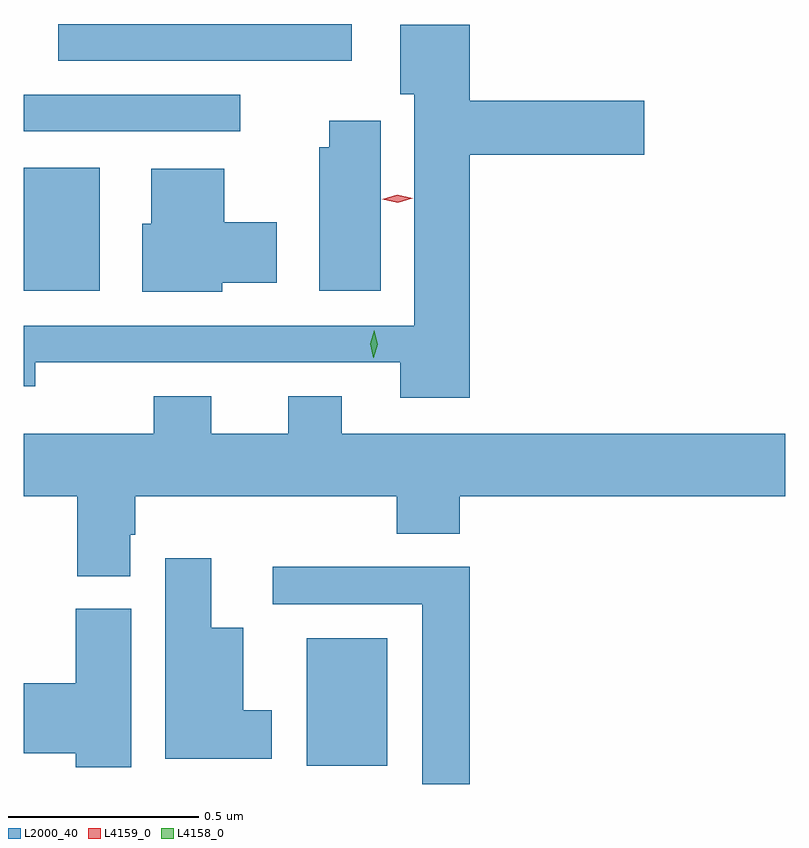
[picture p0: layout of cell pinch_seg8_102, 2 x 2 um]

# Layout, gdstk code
import gdstk
lib = gdstk.Library(unit=1e-6, precision=1e-09)
def R(c, l, rs):  # rectangles x0, y0, x1, y1
    for r in rs: c.add(gdstk.rectangle(r[:2], r[2:], *l))
def P(c, l, *ps):  # polygons
    for p in ps: c.add(gdstk.Polygon(p, *l))
L2000_40 = (2000, 40)
L4158_0 = (4158, 0)
L4159_0 = (4159, 0)

pinch_seg8_102 = lib.new_cell('pinch_seg8_102')
R(pinch_seg8_102, L2000_40, [(1042.634,1113.128,1042.846,1113.463), (1041.891,1114.376,1042.09,1114.699), (1041.891,1114.794,1042.459,1114.89), (1041.981,1114.98,1042.753,1115.076)])
P(pinch_seg8_102, L2000_40, [(1043.063,1114.733),(1043.521,1114.733),(1043.521,1114.875),(1043.063,1114.875),(1043.063,1115.074),(1042.88,1115.074),(1042.88,1114.892),(1042.916,1114.892),(1042.916,1114.284),(1041.891,1114.284),(1041.891,1114.125),(1041.921,1114.125),(1041.921,1114.187),(1042.148,1114.187),(1042.148,1114.188),(1042.88,1114.188),(1042.88,1114.094),(1043.063,1114.094)],
  [(1042.828,1114.822),(1042.694,1114.822),(1042.694,1114.752),(1042.667,1114.752),(1042.667,1114.376),(1042.828,1114.376)],
  [(1042.413,1114.397),(1042.555,1114.397),(1042.555,1114.555),(1042.417,1114.555),(1042.417,1114.696),(1042.226,1114.696),(1042.226,1114.551),(1042.202,1114.551),(1042.202,1114.373),(1042.413,1114.373)],
  [(1042.171,1113.735),(1042.184,1113.735),(1042.184,1113.836),(1042.871,1113.836),(1042.871,1113.737),(1043.036,1113.737),(1043.036,1113.836),(1043.891,1113.836),(1043.891,1114),(1042.726,1114),(1042.726,1114.099),(1042.586,1114.099),(1042.586,1114),(1042.384,1114),(1042.384,1114.099),(1042.232,1114.099),(1042.232,1114),(1041.891,1114),(1041.891,1113.836),(1042.031,1113.836),(1042.031,1113.625),(1042.171,1113.625)],
  [(1042.543,1113.274),(1042.468,1113.274),(1042.468,1113.49),(1042.384,1113.49),(1042.384,1113.673),(1042.262,1113.673),(1042.262,1113.146),(1042.543,1113.146)],
  [(1043.063,1113.65),(1042.545,1113.65),(1042.545,1113.552),(1042.937,1113.552),(1042.937,1113.08),(1043.063,1113.08)],
  [(1042.174,1113.54),(1042.028,1113.54),(1042.028,1113.344),(1041.891,1113.344),(1041.891,1113.161),(1042.028,1113.161),(1042.028,1113.124),(1042.174,1113.124)])
P(pinch_seg8_102, L4158_0, [(1042.809,1114.2),(1042.809,1114.2),(1042.801,1114.236),(1042.812,1114.272),(1042.812,1114.272),(1042.812,1114.272),(1042.821,1114.235),(1042.81,1114.2)])
P(pinch_seg8_102, L4159_0, [(1042.873,1114.607),(1042.832,1114.616),(1042.832,1114.616),(1042.832,1114.616),(1042.872,1114.627),(1042.913,1114.618),(1042.913,1114.618),(1042.913,1114.618)])

lib.write_gds('pinch_seg8_102.gds')
